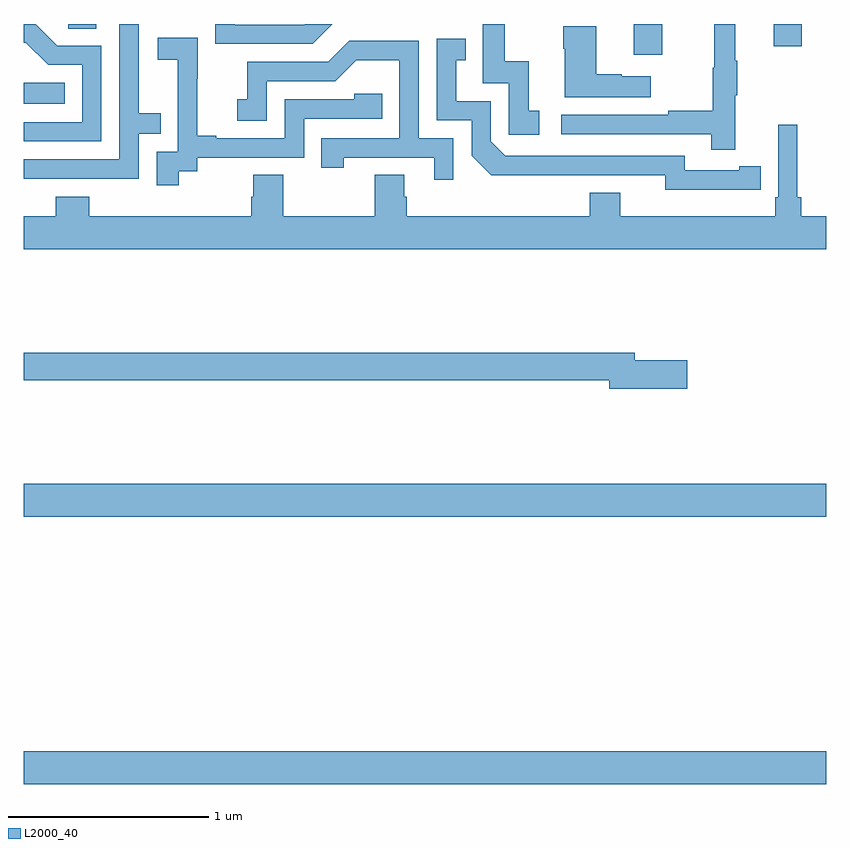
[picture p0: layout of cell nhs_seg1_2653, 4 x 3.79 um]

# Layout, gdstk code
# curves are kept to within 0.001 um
import gdstk
lib = gdstk.Library(unit=1e-6, precision=1e-09)
def R(c, l, rs):  # rectangles x0, y0, x1, y1
    for r in rs: c.add(gdstk.rectangle(r[:2], r[2:], *l))
def P(c, l, *ps):  # polygons
    for p in ps: c.add(gdstk.Polygon(p, *l))
L2000_40 = (2000, 40)

nhs_seg1_2653 = lib.new_cell('nhs_seg1_2653')
R(nhs_seg1_2653, L2000_40, [(255,538.412,259,538.576), (255,539.744,259,539.908), (255,541.802,255.206,541.906), (258.041,542.046,258.181,542.199), (258.737,542.088,258.877,542.199), (255.222,542.176,255.361,542.199)])
P(nhs_seg1_2653, L2000_40, [(257.569,541.767),(257.516,541.767),(257.516,542.014),(257.398,542.014),(257.398,542.199),(257.289,542.199),(257.289,541.905),(257.418,541.905),(257.418,541.647),(257.569,541.647)],
  [(258.545,541.843),(258.556,541.843),(258.556,542.017),(258.545,542.017),(258.545,542.199),(258.442,542.199),(258.442,541.98),(258.435,541.98),(258.435,541.766),(258.211,541.766),(258.211,541.746),(257.679,541.746),(257.679,541.65),(258.427,541.65),(258.427,541.572),(258.545,541.572)],
  [(256.539,542.199),(256.401,542.199),(256.398,542.196),(256.051,542.196),(256.051,542.199),(255.954,542.199),(255.954,542.1),(256.44,542.1)],
  [(255.387,542.091),(255.168,542.091),(255.06,542.199),(255,542.199),(255,542.106),(255.011,542.106),(255.122,541.995),(255.291,541.995),(255.291,541.71),(255,541.71),(255,541.614),(255.387,541.614)],
  [(255.077,541.428),(255.573,541.428),(255.573,541.653),(255.683,541.653),(255.683,541.754),(255.573,541.754),(255.573,542.199),(255.477,542.199),(255.477,541.524),(255,541.524),(255,541.427),(255.077,541.427)],
  [(258.124,541.939),(257.981,541.939),(257.981,541.949),(257.854,541.949),(257.854,542.188),(257.689,542.188),(257.689,542.075),(257.696,542.075),(257.696,541.835),(258.124,541.835)],
  [(255.772,541.465),(255.864,541.465),(255.864,541.533),(256.398,541.533),(256.398,541.728),(256.787,541.728),(256.787,541.851),(256.647,541.851),(256.647,541.824),(256.302,541.824),(256.302,541.629),(255.961,541.629),(255.961,541.642),(255.866,541.642),(255.866,541.925),(255.867,541.925),(255.867,542.131),(255.669,542.131),(255.669,542.021),(255.767,542.021),(255.767,541.793),(255.768,541.793),(255.768,541.563),(255.663,541.563),(255.663,541.395),(255.772,541.395)],
  [(258.566,541.374),(258.674,541.374),(258.674,541.49),(258.566,541.49),(258.566,541.47),(258.294,541.47),(258.294,541.542),(257.4,541.542),(257.328,541.614),(257.328,541.815),(257.155,541.815),(257.155,542.019),(257.204,542.019),(257.204,542.125),(257.058,542.125),(257.058,541.719),(257.232,541.719),(257.232,541.542),(257.33,541.445),(258.198,541.446),(258.198,541.373)],
  [(257.142,541.629),(256.968,541.629),(256.968,542.115),(256.622,542.115),(256.517,542.01),(256.114,542.01),(256.114,541.825),(256.065,541.825),(256.065,541.716),(256.212,541.716),(256.212,541.914),(256.554,541.914),(256.658,542.018),(256.872,542.018),(256.872,541.629),(256.483,541.629),(256.483,541.482),(256.594,541.482),(256.594,541.533),(257.045,541.533),(257.045,541.422),(257.142,541.422)],
  [(259,541.24),(258.875,541.24),(258.875,541.336),(258.856,541.336),(258.856,541.696),(258.759,541.696),(258.759,541.336),(258.746,541.336),(258.746,541.24),(257.974,541.24),(257.974,541.357),(257.822,541.357),(257.822,541.24),(256.91,541.24),(256.91,541.338),(256.897,541.338),(256.897,541.448),(256.75,541.448),(256.75,541.24),(256.293,541.24),(256.293,541.448),(256.145,541.448),(256.145,541.338),(256.133,541.338),(256.133,541.24),(255.326,541.24),(255.326,541.339),(255.161,541.339),(255.161,541.24),(255,541.24),(255,541.076),(259,541.076)],
  [(258.307,540.524),(258.046,540.524),(258.046,540.56),(255,540.56),(255,540.424),(257.918,540.424),(257.918,540.382),(258.307,540.382)])

lib.write_gds('nhs_seg1_2653.gds')
